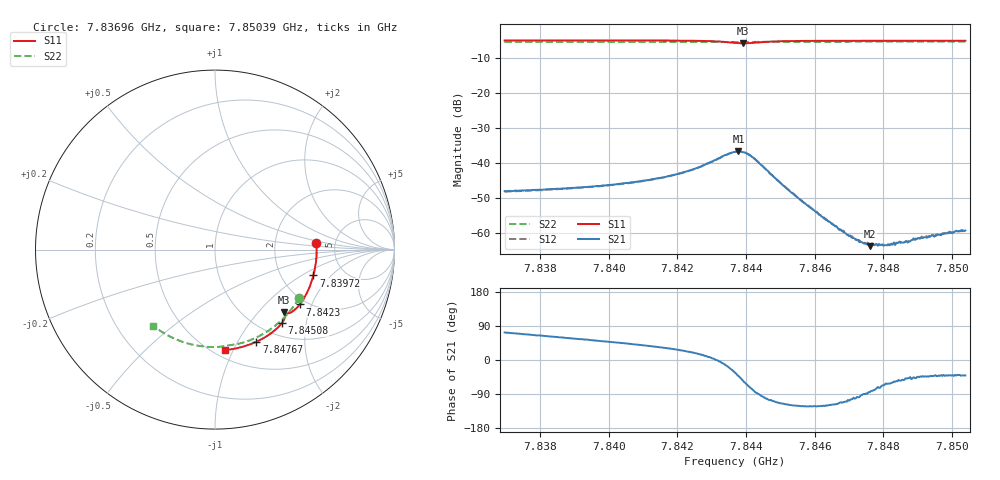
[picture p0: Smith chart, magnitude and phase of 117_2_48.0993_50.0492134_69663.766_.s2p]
#  HZ  S  RI  R  50.00
! Rohde & Schwarz Vector Network Analyzer
! Rohde-Schwarz,ZNB20-2Port,1311601062101988,3.16
! Created: UTC 12/23/2023, 3:46:22 AM
! freq[Hz]  re:S11  im:S11  re:S21  im:S21  re:S12  im:S12  re:S22  im:S22
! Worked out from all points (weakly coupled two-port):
!   401 points, 7.83696 GHz to 7.85039 GHz, reference 50 ohm
!   highest |S21| = -36.67 dB at 7.84378 GHz (marker M1); lowest = -63.8 dB at 7.8476 GHz (marker M2)
!   lowest |S11| = -5.7 dB at 7.84391 GHz (marker M3), VSWR 3.14, Z = 73.1 - j69.2 ohm
!   |S11| at or under -10 dB: nowhere
!   |S22| runs from -5.4 to -5.3 dB; largest |S21 - S12| = 0.00031
!   S11 on the Smith chart (normalised r, x): 7.83696 GHz: 3.56, +0.40; 7.83972 GHz: 3.02, -1.28; 7.8423 GHz: 1.84, -1.64; 7.84508 GHz: 1.24, -1.46; 7.84767 GHz: 0.80, -1.20; 7.85039 GHz: 0.57, -0.93
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7.836965e9  0.565 0.0379  0.00117 0.00377  0.00119 0.00369  0.4683 -0.268
7.839213e9  0.556 -0.1111  0.00258 0.00366  0.00257 0.00361  0.372 -0.3919
7.839716e9  0.5482 -0.1442  0.00297 0.0036  0.00293 0.00357  0.3458 -0.4156
7.840689e9  0.5274 -0.2067  0.00393 0.0035  0.00389 0.00351  0.2907 -0.4562
7.841461e9  0.5048 -0.2549  0.00501 0.0034  0.005 0.00337  0.244 -0.4831
7.8423e9  0.4723 -0.3056  0.00709 0.00289  0.00701 0.00292  0.1899 -0.507
7.843172e9  0.4219 -0.3505  0.0114 -0.000224  0.0114 -0.000348  0.1309 -0.5244
7.843676e9  0.3869 -0.3533  0.012 -0.00787  0.012 -0.0079  0.0973 -0.5303
7.843776e9  0.3834 -0.3505  0.0109 -0.00985  0.011 -0.0098  0.0909 -0.5311
7.84391e9  0.3827 -0.347  0.00825 -0.0116  0.00842 -0.0116  0.0824 -0.5327
7.844212e9  0.3897 -0.3513  0.00198 -0.0117  0.00201 -0.0115  0.0631 -0.5365
7.845085e9  0.3739 -0.4078  -0.00201 -0.00426  -0.00203 -0.0043  0.00239 -0.5428
7.845924e9  0.3319 -0.4509  -0.00117 -0.00185  -0.00117 -0.00187  -0.0569 -0.5406
7.846326e9  0.3096 -0.4682  -0.000761 -0.00133  -0.00082 -0.00135  -0.0849 -0.5371
7.846997e9  0.2708 -0.4929  -0.00027 -0.000853  -0.000254 -0.00087  -0.1313 -0.5284
7.847232e9  0.2569 -0.5004  -0.000106 -0.00078  -0.000112 -0.000772  -0.1474 -0.5243
7.847601e9  0.2345 -0.5116  5.98e-05 -0.000644  5.8e-05 -0.000692  -0.172 -0.5167
7.847669e9  0.2304 -0.5135  0.000102 -0.000667  8.67e-05 -0.000698  -0.1766 -0.5155
7.848172e9  0.1994 -0.5266  0.000312 -0.000602  0.000319 -0.000577  -0.2097 -0.5031
7.848575e9  0.1738 -0.5356  0.00044 -0.000571  0.000453 -0.000551  -0.2354 -0.4919
7.84938e9  0.122 -0.5494  0.000666 -0.000594  0.000681 -0.000654  -0.2854 -0.4651
7.850386e9  0.0558 -0.5597  0.000818 -0.000703  0.000844 -0.000725  -0.3432 -0.425
